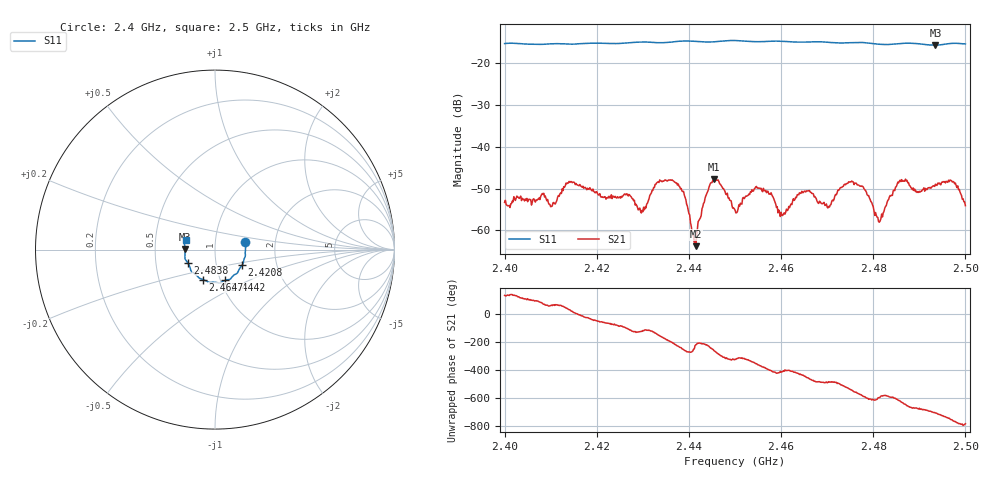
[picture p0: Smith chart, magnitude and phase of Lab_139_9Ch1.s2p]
# Hz S RI R 50
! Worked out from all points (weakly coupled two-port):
!   601 points, 2.4 GHz to 2.5 GHz, reference 50 ohm
!   highest |S21| = -47.73 dB at 2.4455 GHz (marker M1); lowest = -63.8 dB at 2.4415 GHz (marker M2)
!   lowest |S11| = -15.6 dB at 2.4935 GHz (marker M3), VSWR 1.40, Z = 35.8 + j0.206 ohm
!   |S11| at or under -10 dB: start of sweep to end of sweep
!   S12 and S22 are empty: the file has one direction only
!   S11 on the Smith chart (normalised r, x): 2.4 GHz: 1.40, +0.12; 2.4208 GHz: 1.33, -0.24; 2.4442 GHz: 1.05, -0.37; 2.4647 GHz: 0.83, -0.29; 2.4838 GHz: 0.73, -0.11; 2.5 GHz: 0.72, +0.08
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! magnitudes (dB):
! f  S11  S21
! 2.4 GHz  -15.2  -53.3
! 2.4167 GHz  -15.3  -49.5
! 2.4208 GHz  -15.2  -51.9
! 2.43 GHz  -14.9  -55.5
! 2.4333 GHz  -15.0  -48.4
! 2.4383 GHz  -14.7  -50.0
! 2.4415 GHz  -14.7  -63.8
! 2.4442 GHz  -14.9  -50.4
! 2.4455 GHz  -14.8  -47.7
! 2.45 GHz  -14.5  -55.1
! 2.455 GHz  -14.8  -49.8
! 2.4603 GHz  -14.7  -56.5
! 2.4647 GHz  -14.9  -51.0
! 2.4667 GHz  -14.8  -51.2
! 2.4703 GHz  -15.0  -54.2
! 2.4758 GHz  -15.0  -49.0
! 2.4812 GHz  -15.4  -57.9
! 2.4833 GHz  -15.5  -52.6
! 2.4838 GHz  -15.4  -51.7
! 2.4935 GHz  -15.6  -48.9
! 2.4973 GHz  -15.2  -48.3
! 2.5 GHz  -15.3  -54.1
